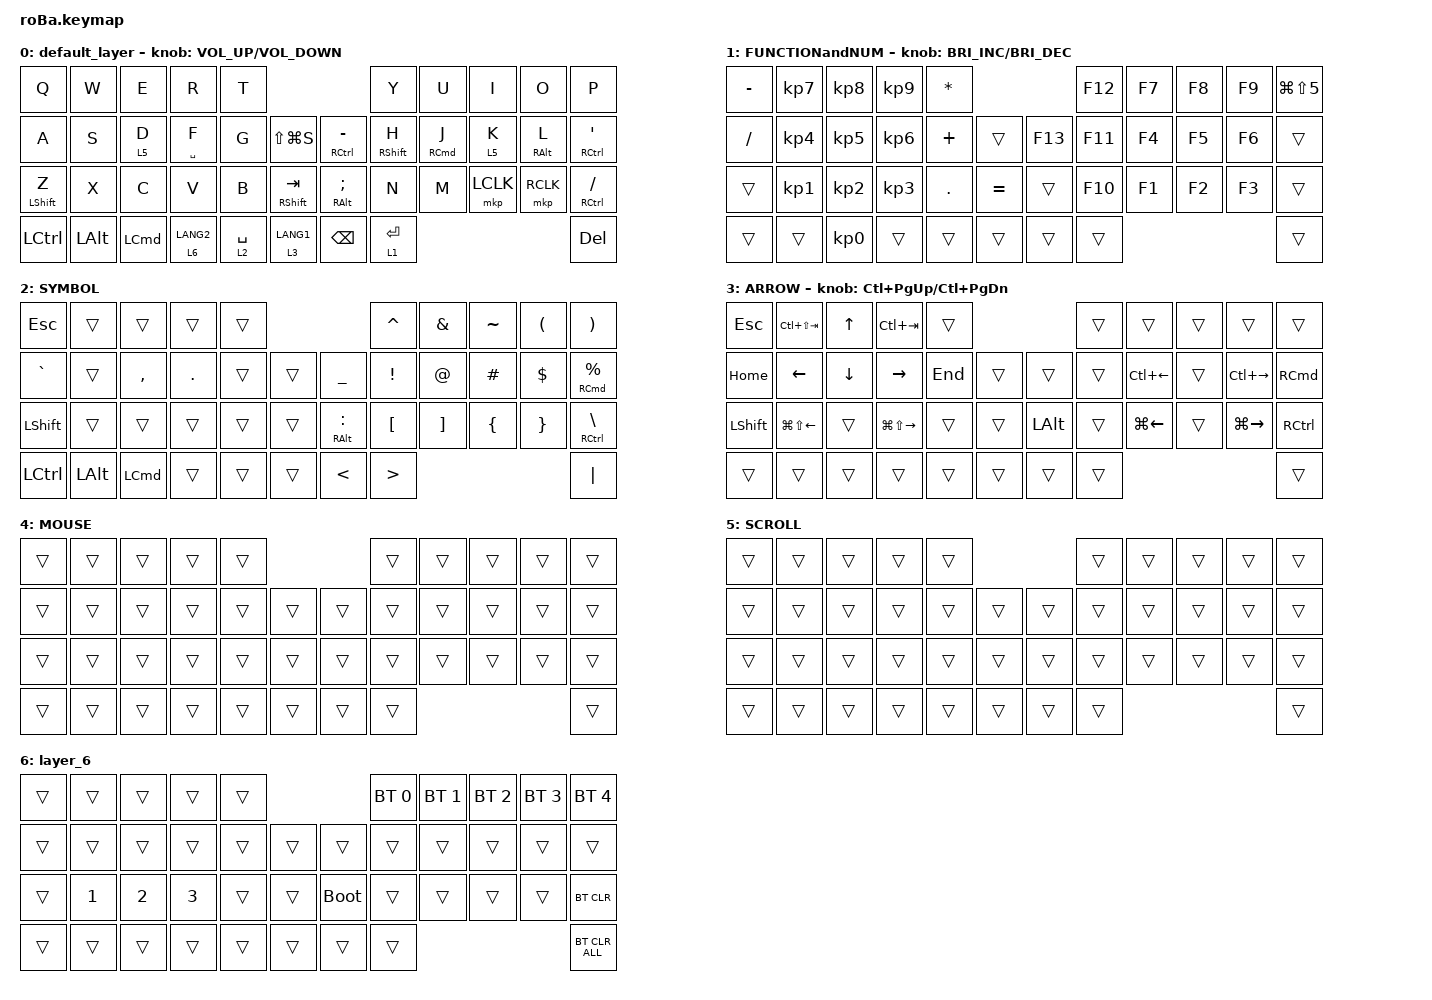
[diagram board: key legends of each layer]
#include <behaviors.dtsi>
#include <dt-bindings/zmk/bt.h>
#include <dt-bindings/zmk/keys.h>
#include <dt-bindings/zmk/pointing.h>

#define MOUSE 4
#define SCROLL 5
#define NUM 6

&mt {
    flavor = "balanced";
    quick-tap-ms = <0>;
};

/ {
    combos {
        compatible = "zmk,combos";

        tab {
            bindings = <&kp TAB>;
            key-positions = <11 12>;
        };

        shift_tab {
            bindings = <&kp LS(TAB)>;
            key-positions = <12 13>;
        };

        muhennkann {
            bindings = <&to_layer_0 INT_MUHENKAN>;
            key-positions = <11 10>;
        };

        double_quotation {
            bindings = <&kp DOUBLE_QUOTES>;
            key-positions = <20 21>;
        };

        eq {
            bindings = <&kp EQUAL>;
            key-positions = <24 25>;
        };
    };

    macros {
        to_layer_0: to_layer_0 {
            compatible = "zmk,behavior-macro-one-param";
            #binding-cells = <1>;
            bindings = <&to 0 &macro_param_1to1 &kp MACRO_PLACEHOLDER>;
            label = "TO_LAYER_0";
        };
    };

    behaviors {
        lt_to_layer_0: lt_to_layer_0 {
            compatible = "zmk,behavior-hold-tap";
            label = "LAYER_TAP_TO_0";
            bindings = <&mo>, <&to_layer_0>;

            #binding-cells = <2>;
            tapping-term-ms = <200>;
        };
    };

    keymap {
        compatible = "zmk,keymap";

        default_layer {
            bindings = <
&kp Q             &kp W         &kp E             &kp R                   &kp T                                                             &kp Y              &kp U                &kp I      &kp O            &kp P
&kp A             &kp S         &lt 5 D           &mt SPACE F             &kp G        &kp LS(LG(S))               &mt RCTRL MINUS          &mt RIGHT_SHIFT H  &mt RIGHT_COMMAND J  &lt 5 K    &mt RIGHT_ALT L  &mt RCTRL SQT
&mt LEFT_SHIFT Z  &kp X         &kp C             &kp V                   &kp B        &mt RIGHT_SHIFT TAB         &mt RIGHT_ALT SEMICOLON  &kp N              &kp M                &mkp LCLK  &mkp RCLK        &mt RIGHT_CONTROL SLASH
&kp LCTRL         &kp LEFT_ALT  &kp LEFT_COMMAND  &lt_to_layer_0 6 LANG2  &lt 2 SPACE  &lt_to_layer_0 3 LANG1      &kp BACKSPACE            &lt 1 ENTER                                                         &kp DEL
            >;

            sensor-bindings = <&inc_dec_kp C_VOLUME_UP C_VOLUME_DOWN>;
        };

        FUNCTIONandNUM {
            bindings = <
&kp MINUS  &kp KP_NUMBER_7  &kp KP_NUMBER_8  &kp KP_NUMBER_9  &kp ASTERISK                          &kp F12  &kp F7  &kp F8  &kp F9  &kp LG(LS(N5))
&kp SLASH  &kp KP_NUMBER_4  &kp KP_NUMBER_5  &kp KP_NUMBER_6  &kp PLUS      &trans         &kp F13  &kp F11  &kp F4  &kp F5  &kp F6  &trans
&trans     &kp KP_NUMBER_1  &kp KP_NUMBER_2  &kp KP_NUMBER_3  &kp PERIOD    &kp EQUAL      &trans   &kp F10  &kp F1  &kp F2  &kp F3  &trans
&trans     &trans           &kp KP_N0        &trans           &trans        &trans         &trans   &trans                           &trans
            >;

            sensor-bindings = <&inc_dec_kp C_BRIGHTNESS_INC C_BRIGHTNESS_DEC>;
        };

        SYMBOL {
            bindings = <
&kp ESCAPE        &trans        &trans            &trans      &trans                                   &kp CARET         &kp AMPERSAND      &kp TILDE       &kp LEFT_PARENTHESIS  &kp RIGHT_PARENTHESIS
&kp GRAVE         &trans        &kp COMMA         &kp PERIOD  &trans  &trans      &kp UNDERSCORE       &kp EXCLAMATION   &kp AT_SIGN        &kp HASH        &kp DOLLAR            &mt RIGHT_COMMAND PERCENT
&kp LEFT_SHIFT    &trans        &trans            &trans      &trans  &trans      &mt RIGHT_ALT COLON  &kp LEFT_BRACKET  &kp RIGHT_BRACKET  &kp LEFT_BRACE  &kp RIGHT_BRACE       &mt RIGHT_CONTROL BACKSLASH
&kp LEFT_CONTROL  &kp LEFT_ALT  &kp LEFT_COMMAND  &trans      &trans  &trans      &kp LESS_THAN        &kp GREATER_THAN                                                           &kp PIPE
            >;
        };

        ARROW {
            bindings = <
&kp ESCAPE      &kp LC(LS(TAB))         &kp UP_ARROW    &kp LC(TAB)              &trans                             &trans  &trans              &trans  &trans               &trans
&kp HOME        &kp LEFT_ARROW          &kp DOWN_ARROW  &kp RIGHT_ARROW          &kp END  &trans      &trans        &trans  &kp LC(LEFT_ARROW)  &trans  &kp LC(RIGHT_ARROW)  &kp RIGHT_COMMAND
&kp LEFT_SHIFT  &kp LG(LS(LEFT_ARROW))  &trans          &kp LG(LS(RIGHT_ARROW))  &trans   &trans      &kp LEFT_ALT  &trans  &kp LG(LEFT_ARROW)  &trans  &kp LG(RIGHT_ARROW)  &kp RIGHT_CONTROL
&trans          &trans                  &trans          &trans                   &trans   &trans      &trans        &trans                                                   &trans
            >;

            sensor-bindings = <&inc_dec_kp LC(PAGE_UP) LC(PAGE_DOWN)>;
        };

        MOUSE {
            bindings = <
&trans  &trans  &trans  &trans  &trans                      &trans  &trans  &trans  &trans  &trans
&trans  &trans  &trans  &trans  &trans  &trans      &trans  &trans  &trans  &trans  &trans  &trans
&trans  &trans  &trans  &trans  &trans  &trans      &trans  &trans  &trans  &trans  &trans  &trans
&trans  &trans  &trans  &trans  &trans  &trans      &trans  &trans                          &trans
            >;
        };

        SCROLL {
            bindings = <
&trans  &trans  &trans  &trans  &trans                      &trans  &trans  &trans  &trans  &trans
&trans  &trans  &trans  &trans  &trans  &trans      &trans  &trans  &trans  &trans  &trans  &trans
&trans  &trans  &trans  &trans  &trans  &trans      &trans  &trans  &trans  &trans  &trans  &trans
&trans  &trans  &trans  &trans  &trans  &trans      &trans  &trans                          &trans
            >;
        };

        layer_6 {
            bindings = <
&trans  &trans        &trans        &trans        &trans                           &bt BT_SEL 0  &bt BT_SEL 1  &bt BT_SEL 2  &bt BT_SEL 3  &bt BT_SEL 4
&trans  &trans        &trans        &trans        &trans  &trans      &trans       &trans        &trans        &trans        &trans        &trans
&trans  &kp NUMBER_1  &kp NUMBER_2  &kp NUMBER_3  &trans  &trans      &bootloader  &trans        &trans        &trans        &trans        &bt BT_CLR
&trans  &trans        &trans        &trans        &trans  &trans      &trans       &trans                                                  &bt BT_CLR_ALL
            >;
        };
    };
};
